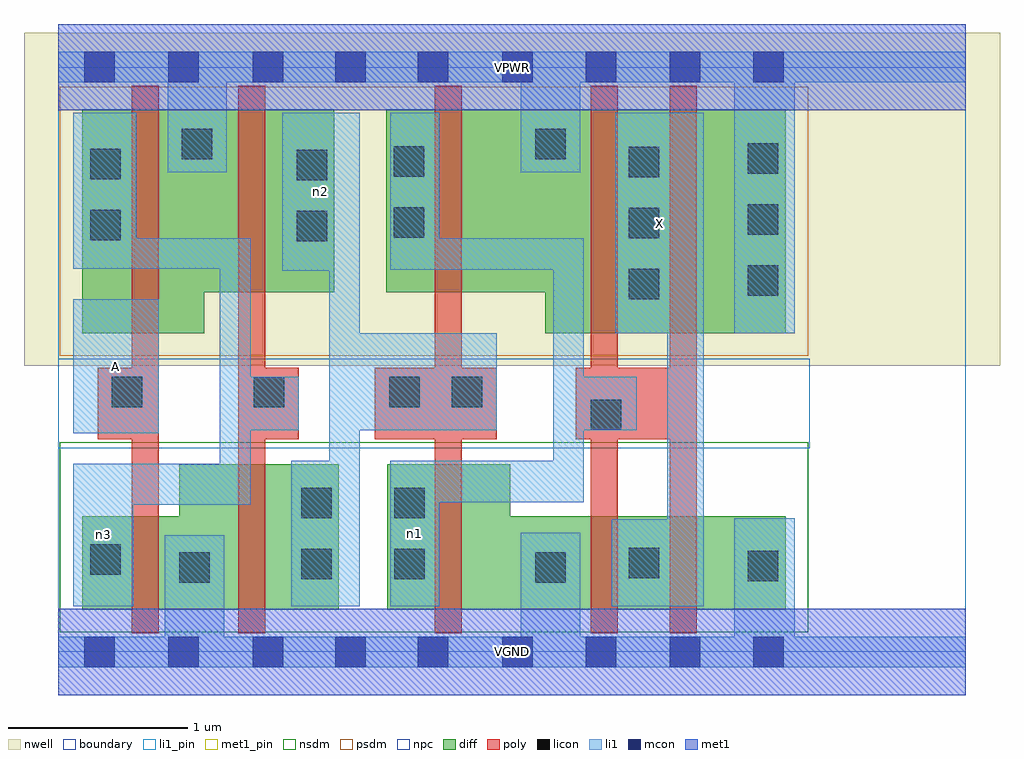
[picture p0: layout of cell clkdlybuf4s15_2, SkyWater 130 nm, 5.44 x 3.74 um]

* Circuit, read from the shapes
.subckt clkdlybuf4s15_2 A VGND VPWR X n1 n2 n3
XM1 VGND A n3 VSUBS sky130_fd_pr__nfet_01v8 w=0.52 l=0.15
XM2 n2 n3 VGND VSUBS sky130_fd_pr__nfet_01v8 w=0.81 l=0.15
XM3 VGND n2 n1 VSUBS sky130_fd_pr__nfet_01v8 w=0.81 l=0.15
XM4 X n1 VGND VSUBS sky130_fd_pr__nfet_01v8 w=0.52 l=0.15 m=2
XM5 VPWR A n3 n4 sky130_fd_pr__pfet_01v8 w=1.25 l=0.15
XM6 n2 n3 VPWR n4 sky130_fd_pr__pfet_01v8 w=1.02 l=0.15
XM7 VPWR n2 n1 n4 sky130_fd_pr__pfet_01v8 w=1.02 l=0.15
XM8 X n1 VPWR n4 sky130_fd_pr__pfet_01v8 w=1.25 l=0.15 m=2
.ends

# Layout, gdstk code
import gdstk
lib = gdstk.Library(unit=1e-6, precision=1e-09)
def R(c, l, rs):  # rectangles x0, y0, x1, y1
    for r in rs: c.add(gdstk.rectangle(r[:2], r[2:], *l))
def A(c, l, x, y, w, h, nx, ny, dx, dy):  # array of equal rectangles
    R(c, l, [(x+i*dx, y+j*dy, x+i*dx+w, y+j*dy+h) for i in range(nx) for j in range(ny)])
nwell = (64, 20)
diff = (65, 20)
poly = (66, 20)
licon = (66, 44)
li1_pin = (67, 16)
li1 = (67, 20)
mcon = (67, 44)
met1_pin = (68, 16)
met1 = (68, 20)
nsdm = (93, 44)
psdm = (94, 20)
npc = (95, 20)
boundary = (235, 4)

clkdlybuf4s15_2 = lib.new_cell('clkdlybuf4s15_2')
R(clkdlybuf4s15_2, nwell, [(-0.19,1.595,5.25,3.45), (0,1.595,5.06,3.45)])
R(clkdlybuf4s15_2, diff, [(0.135,0.235,1.565,0.755), (0.675,0.235,1.565,1.045), (1.835,0.235,4.055,0.755), (1.835,0.235,2.52,1.045), (0.135,1.775,0.815,3.025), (2.715,1.775,4.055,3.025), (0.135,2.005,1.54,3.025), (1.83,2.005,4.055,3.025)])
R(clkdlybuf4s15_2, poly, [(0.41,0.105,0.56,3.155), (1.005,0.105,1.155,3.155), (2.1,0.105,2.25,3.155), (2.97,0.105,3.12,3.155), (3.41,0.105,3.56,3.155), (0.22,1.185,0.56,1.585), (1.005,1.185,1.34,1.585), (1.765,1.185,2.445,1.585), (2.885,1.185,3.56,1.585)])
A(clkdlybuf4s15_2, licon, 3.18, 1.965, 0.17, 0.17, 1, 3, 0, 0.34)
A(clkdlybuf4s15_2, licon, 3.845, 1.985, 0.17, 0.17, 1, 3, 0, 0.34)
R(clkdlybuf4s15_2, licon, [(0.675,0.385,0.845,0.555), (2.66,0.385,2.83,0.555), (3.845,0.395,4.015,0.565), (1.355,0.405,1.525,0.575), (1.875,0.405,2.045,0.575), (3.18,0.41,3.35,0.58), (0.18,0.43,0.35,0.6), (1.355,0.745,1.525,0.915), (1.875,0.745,2.045,0.915), (2.97,1.235,3.14,1.405), (0.3,1.365,0.47,1.535), (1.09,1.365,1.26,1.535), (1.845,1.365,2.015,1.535), (2.195,1.365,2.365,1.535), (1.33,2.29,1.5,2.46), (0.18,2.295,0.35,2.465), (1.87,2.31,2.04,2.48), (1.33,2.63,1.5,2.8), (0.18,2.635,0.35,2.805), (1.87,2.65,2.04,2.82), (0.69,2.745,0.86,2.915), (2.66,2.745,2.83,2.915)])
R(clkdlybuf4s15_2, li1_pin, [(0.085,1.22,0.56,1.965), (3.105,1.775,3.6,3.005)])
R(clkdlybuf4s15_2, li1, [(0,-0.085,5.06,0.085), (0.595,-0.085,0.925,0.65), (2.58,-0.085,2.91,0.665), (3.77,-0.085,4.105,0.745), (0.085,0.255,0.42,1.05), (1.3,0.255,1.68,1.065), (1.51,0.255,1.68,3.005), (1.85,0.255,2.125,1.065), (3.085,0.255,3.6,0.74), (3.395,0.255,3.6,3.005), (0.085,0.82,1.075,1.05), (0.9,0.82,1.075,2.305), (1.85,0.835,2.93,1.065), (2.76,0.835,2.93,2.305), (0.085,1.22,0.56,1.965), (0.9,1.235,1.34,1.535), (1.51,1.235,2.445,1.775), (2.76,1.235,3.225,1.535), (3.105,1.775,3.6,3.005), (3.77,1.775,4.105,3.345), (1.25,2.125,1.68,3.005), (1.85,2.13,2.125,3.005), (1.85,2.13,2.93,2.305), (0.085,2.135,0.435,3.005), (0.085,2.135,1.075,2.305), (0.61,2.675,0.94,3.345), (2.58,2.675,2.91,3.345), (0,3.175,5.06,3.345)])
A(clkdlybuf4s15_2, mcon, 0.145, -0.085, 0.17, 0.17, 3, 2, 0.47, 3.26)
R(clkdlybuf4s15_2, mcon, [(1.545,-0.085,1.715,0.085), (2.005,-0.085,2.175,0.085), (2.475,-0.085,2.645,0.085), (2.94,-0.085,3.11,0.085), (3.41,-0.085,3.58,0.085), (3.875,-0.085,4.045,0.085), (1.545,3.175,1.715,3.345), (2.005,3.175,2.175,3.345), (2.475,3.175,2.645,3.345), (2.94,3.175,3.11,3.345), (3.41,3.175,3.58,3.345), (3.875,3.175,4.045,3.345)])
R(clkdlybuf4s15_2, met1_pin, [(0,-0.24,5.06,0.24), (0,3.02,5.06,3.5)])
R(clkdlybuf4s15_2, met1, [(0,-0.24,5.06,0.24), (0,3.02,5.06,3.5)])
R(clkdlybuf4s15_2, nsdm, [(0.01,0.11,4.18,1.17)])
R(clkdlybuf4s15_2, psdm, [(0.01,1.65,4.18,3.15)])
R(clkdlybuf4s15_2, npc, [(0,1.135,4.19,1.635)])
R(clkdlybuf4s15_2, boundary, [(0,0,5.06,3.26)])
clkdlybuf4s15_2.add(gdstk.Label('A', (0.322,1.592), layer=67, texttype=5))
clkdlybuf4s15_2.add(gdstk.Label('X', (3.352,2.39), layer=67, texttype=5))
clkdlybuf4s15_2.add(gdstk.Label('n3', (0.252,0.652), layer=67, texttype=5))
clkdlybuf4s15_2.add(gdstk.Label('n2', (1.465,2.565), layer=67, texttype=5))
clkdlybuf4s15_2.add(gdstk.Label('n1', (1.987,0.66), layer=67, texttype=5))
clkdlybuf4s15_2.add(gdstk.Label('VPWR', (2.53,3.26), layer=68, texttype=5))
clkdlybuf4s15_2.add(gdstk.Label('VGND', (2.53,0), layer=68, texttype=5))
clkdlybuf4s15_2.add(gdstk.Label('A', (0.322,1.592), layer=67, texttype=16))
clkdlybuf4s15_2.add(gdstk.Label('X', (3.352,2.39), layer=67, texttype=16))
clkdlybuf4s15_2.add(gdstk.Label('VPWR', (2.53,3.26), layer=68, texttype=16))
clkdlybuf4s15_2.add(gdstk.Label('VGND', (2.53,0), layer=68, texttype=16))

lib.write_gds('clkdlybuf4s15_2.gds')
